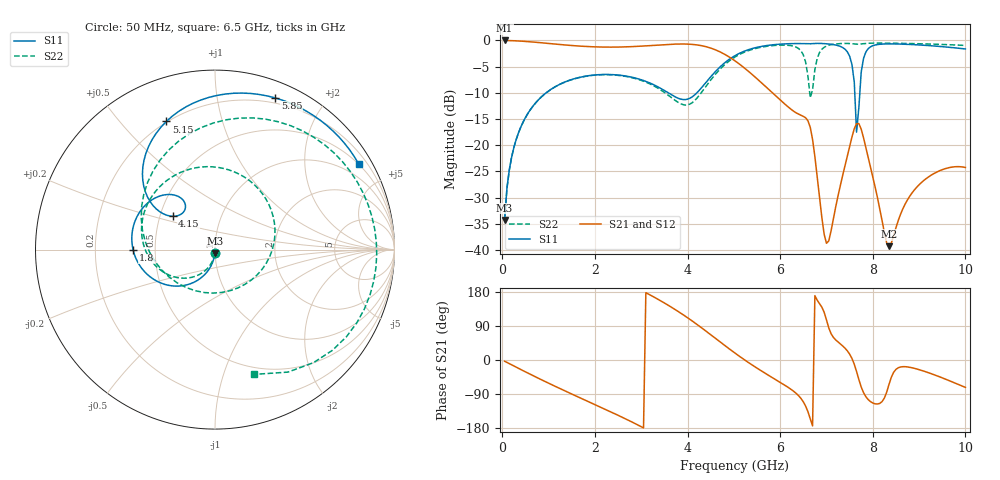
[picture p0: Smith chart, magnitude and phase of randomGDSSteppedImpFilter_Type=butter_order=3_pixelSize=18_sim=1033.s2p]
! freq	dB(S11)	phase(S11)	dB(S12)	phase(S12)
!  dB(S21)	phase(S21)	dB(S22)	phase(S22)
!S-par simulation data
#  GHz  S  DB  R 50
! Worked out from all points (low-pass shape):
!   200 points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, 50 MHz to 10 GHz, reference 50 ohm
!   highest |S21| = -0.01 dB at 50 MHz (marker M1); lowest = -39.3 dB at 8.35 GHz (marker M2)
!   |S21| within 3 dB of the highest: start of sweep to 4.871 GHz
!   lowest |S11| = -34.3 dB at 50 MHz (marker M3), VSWR 1.04, Z = 49.9 - j1.93 ohm
!   |S11| at or under -10 dB: start of sweep to 946.9 MHz; 3.581 GHz to 4.202 GHz (620.9 MHz wide, 16 % of centre); 7.611 GHz to 7.721 GHz (109.9 MHz wide, 1.43 % of centre)
!   |S22| runs from -34.3 to -0.5 dB; largest |S21 - S12| = 0
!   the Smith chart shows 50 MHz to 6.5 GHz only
!   S11 on the Smith chart (normalised r, x): 50 MHz: 1.00, -0.04; 1.8 GHz: 0.37, -0.00; 4.15 GHz: 0.58, +0.24; 5.15 GHz: 0.20, +0.67; 5.85 GHz: 0.15, +1.46; 6.5 GHz: 0.49, +3.57
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0.05  -34.27 -92.8  -0.01 -3.2  -0.01 -3.2  -34.29 -93.7
0.5  -14.73 -117.5  -0.19 -31.3  -0.19 -31.3  -14.75 -126.1
1.75  -6.90 -177.4  -1.13 -103.7  -1.13 -103.7  -6.93 148.9
1.8  -6.82 -179.6  -1.15 -106.5  -1.15 -106.5  -6.85 145.5
3.4  -9.06 124.0  -0.86 157.6  -0.86 157.6  -9.33 12.5
4.15  -10.43 141.9  -0.80 98.7  -0.80 98.7  -11.52 -127.3
4.6  -5.97 140.4  -1.79 57.4  -1.79 57.4  -6.48 149.5
5.05  -2.78 116.9  -4.06 16.0  -4.06 16.0  -3.03 90.7
5.15  -2.34 110.8  -4.72 7.2  -4.72 7.2  -2.55 79.5
5.85  -0.83 68.3  -10.14 -47.9  -10.14 -47.9  -0.98 11.8
6.25  -0.61 45.1  -13.25 -78.7  -13.25 -78.7  -1.02 -27.3
6.5  -0.61 30.8  -14.50 -110.3  -14.50 -110.3  -2.75 -72.5
6.7  -0.61 19.8  -18.91 -173.9  -18.91 -173.9  -9.43 99.8
6.85  -0.57 10.4  -29.98 148.7  -29.98 148.7  -2.32 15.8
7  -0.64 0.4  -38.74 106.0  -38.74 106.0  -1.08 -12.2
7.5  -3.00 -54.5  -20.25 15.6  -20.25 15.6  -0.59 -53.5
7.65  -17.51 -132.3  -15.87 -30.4  -15.87 -30.4  -0.71 -61.4
7.7  -12.77 76.9  -15.89 -51.8  -15.89 -51.8  -0.71 -63.4
7.9  -1.58 3.4  -22.29 -104.3  -22.29 -104.3  -0.54 -72.8
8.35  -0.66 -41.5  -39.28 -64.6  -39.28 -64.6  -0.52 -93.2
9.2  -0.98 -95.8  -26.08 -33.4  -26.08 -33.4  -0.68 -128.1
10  -1.63 -156.5  -24.26 -72.3  -24.26 -72.3  -0.96 -163.2
